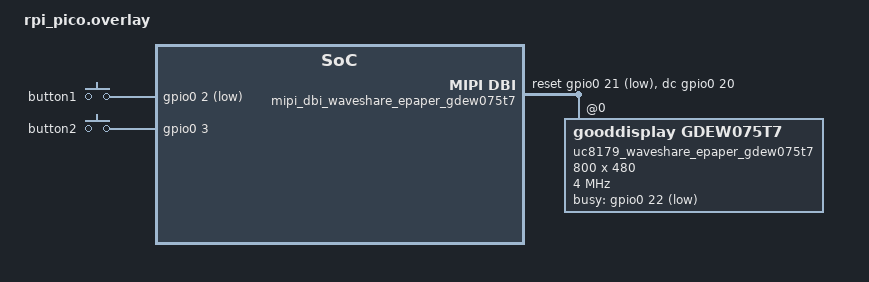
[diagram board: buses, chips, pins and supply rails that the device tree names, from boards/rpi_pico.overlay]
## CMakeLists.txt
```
cmake_minimum_required(VERSION 3.20.0)

find_package(Zephyr REQUIRED HINTS $ENV{ZEPHYR_BASE})
project(ZEReader)

# add_subdirectory(src/epub)
add_subdirectory(src/ui)

add_compile_definitions(LV_LVGL_H_INCLUDE_SIMPLE)

target_sources(app PRIVATE src/main.c)
```

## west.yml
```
manifest:
  defaults:
    remote: zephyrproject
    revision: main

  remotes:
    - name: zephyrproject
      url-base: https://github.com/zephyrproject-rtos


  projects:
    - name: zephyr
      path: zephyr
      remote: zephyrproject

      import:
        name-allowlist:
          - cmsis
          - fatfs
          - hal_nordic
          - hal_rpi_pico
          - hal_stm32
          - hal_littlefs
          - lvgl
          - mcuboot
          - segger

  self:
    west-commands: scripts/west-commands.yml
```

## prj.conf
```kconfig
CONFIG_GPIO=y
CONFIG_SPI=y

CONFIG_SERIAL=y
# CONFIG_PRINTK=y
CONFIG_LOG=y
CONFIG_LOG_BACKEND_UART=y
CONFIG_UART_CONSOLE=y

# CONFIG_DISK_ACCESS=y
# CONFIG_DISK_DRIVER_SDMMC=n

# CONFIG_FILE_SYSTEM=y
# CONFIG_FAT_FILESYSTEM_ELM=y

CONFIG_MAIN_STACK_SIZE=2048


CONFIG_DISPLAY=y
CONFIG_DISPLAY_LOG_LEVEL_DBG=y


# lvgl
#16384
CONFIG_LV_Z_MEM_POOL_SIZE=8192
# # CONFIG_SHELL=n
# # CONFIG_LV_Z_SHELL=n
CONFIG_LVGL=y
# CONFIG_LV_USE_LOG=y
CONFIG_LV_MEM_CUSTOM=y
CONFIG_LV_USE_LABEL=y
CONFIG_LV_USE_BTN=y
CONFIG_LV_USE_IMG=y
CONFIG_LV_FONT_MONTSERRAT_18=y
# CONFIG_LV_FONT_MONTSERRAT_20=y
# CONFIG_LV_FONT_MONTSERRAT_24=y
# CONFIG_LV_FONT_MONTSERRAT_28=y
# CONFIG_LV_FONT_MONTSERRAT_48=n

# CONFIG_LV_Z_VDB_SIZE=16
# CONFIG_LV_DPI_DEF=130
CONFIG_LV_Z_BITS_PER_PIXEL=1
CONFIG_LV_COLOR_DEPTH_1=y
# CONFIG_LVGL_THEMES=y
# CONFIG_LVGL_USE_THEME_MONO=y

CONFIG_INPUT=y
CONFIG_LV_Z_BUTTON_INPUT=y
# CONFIG_LV_Z_POINTER_INPUT=y
```

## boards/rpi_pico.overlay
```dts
#include <zephyr/dt-bindings/input/input-event-codes.h>
#include <zephyr/dt-bindings/lvgl/lvgl.h>


/ {

  chosen {
    zephyr,display = &uc8179_waveshare_epaper_gdew075t7;
  };

  mipi_dbi_waveshare_epaper_gdew075t7 {
    compatible = "zephyr,mipi-dbi-spi";
    spi-dev = <&spi0>; //spi@0 -> GPIO 16-19
    dc-gpios = <&gpio0 20 GPIO_ACTIVE_HIGH>;
    reset-gpios = <&gpio0 21 GPIO_ACTIVE_LOW>;
    write-only;
    #address-cells = <1>;
    #size-cells = <0>;

    uc8179_waveshare_epaper_gdew075t7: uc8179@0 {
      compatible = "gooddisplay,gdew075t7", "ultrachip,uc8179";
      mipi-max-frequency = <4000000>;
      reg = <0>;
      width = <800>;
      height = <480>;
      busy-gpios = <&gpio0 22 GPIO_ACTIVE_LOW>;

      softstart = [ 17 17 17 17  ];

      full {
        pwr = [ 07 07 3f 3f  ];
        cdi = <07>;
        tcon = <0x22>;
      };
    };
  };

  lvgl_pointer_input: lvgl_pointer {
    compatible = "zephyr,lvgl-button-input";
    input = <&buttons>;
    input-codes = <INPUT_KEY_0 INPUT_KEY_1>;
    coordinates = <240 400>, <440 180>;
  };

  buttons: buttons {
    compatible = "gpio-keys";
    polling-mode; // Use polling, as none polling generates at boot buttons releases for each button. Which is not desired. Maybe a bug in Zephyr?

    key1: key1 {
      label = "button1";
      gpios = <&gpio0 2 GPIO_ACTIVE_LOW>;
      zephyr,code = <INPUT_KEY_1>;
    };
    key2: key2 {
      label = "button2";
      gpios = <&gpio0 3 GPIO_ACTIVE_HIGH>;
      zephyr,code = <INPUT_KEY_2>;
    };
    // key3: key3 {
      //     label = "button3";
      //     gpios = <&gpio0 2 GPIO_ACTIVE_HIGH>;
      //     zephyr,code = <INPUT_KEY_3>;
    // };
    // key4: key4 {
      //     label = "button4";
      //     gpios = <&gpio0 3 GPIO_ACTIVE_HIGH>;
      //     zephyr,code = <INPUT_KEY_4>;
    // };
  };
};
```

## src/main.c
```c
#include <stdio.h>
#include <zephyr/logging/log.h>
#include <zephyr/device.h>
#include <zephyr/devicetree.h>
#include <zephyr/drivers/display.h>
#include <zephyr/kernel.h>

#include "ui/ui.h"

LOG_MODULE_REGISTER(main, CONFIG_DISPLAY_LOG_LEVEL);


/*
This can be used to access the GPIO Buttons directly.
If used together with the LVGL input device, there is some
concurrency who handles the event.
So better just use one mechanism!
*/

// static struct gpio_dt_spec button_gpio = GPIO_DT_SPEC_GET_OR(
// 	DT_ALIAS(sw0), gpios, {0});
// static struct gpio_callback button_callback;

// static void button_isr_callback(const struct device *port,
// 								struct gpio_callback *cb,
// 								uint32_t pins)
// {
// 	ARG_UNUSED(port);
// 	ARG_UNUSED(cb);
// 	ARG_UNUSED(pins);

// 	LOG_DBG("GPIO button clicked");
// 	// count = 0;
// }



int main(void)
{
	LOG_DBG("Hello World - ZEReader! %s\n", CONFIG_BOARD_TARGET);

	context_t context = BOOK_MENU;

	// Initialize the choosen zephyr,display device
	// -> Make the device tree description available for the software part
	const struct device *display_dev;
	display_dev = DEVICE_DT_GET(DT_CHOSEN(zephyr_display));
	if (!device_is_ready(display_dev))
	{
		LOG_ERR("Device not ready, aborting...");
		return 0;
	}

	// Make the FIRST ok zephyr,lvgl-button-input node available to the software part
	static const struct device *lvgl_btn_dev;
	lvgl_btn_dev = DEVICE_DT_GET(DT_COMPAT_GET_ANY_STATUS_OKAY(zephyr_lvgl_button_input));
	if (!device_is_ready(lvgl_btn_dev))
	{
		LOG_ERR("Device not ready, aborting...");
		return 0;
	}

	/*
	Initializing the GPIOs by hand is not needed when using the lvgl-button-input driver
	*/
	// if (gpio_is_ready_dt(&button_gpio))
	// {
	// 	int err;

	// 	err = gpio_pin_configure_dt(&button_gpio, GPIO_INPUT);
	// 	if (err)
	// 	{
	// 		LOG_ERR("failed to configure button gpio: %d", err);
	// 		return 0;
	// 	}

	// 	gpio_init_callback(&button_callback, button_isr_callback,
	// 					   BIT(button_gpio.pin));

	// 	err = gpio_add_callback(button_gpio.port, &button_callback);
	// 	if (err)
	// 	{
	// 		LOG_ERR("failed to add button callback: %d", err);
	// 		return 0;
	// 	}

	// 	err = gpio_pin_interrupt_configure_dt(&button_gpio,
	// 										  GPIO_INT_EDGE_TO_ACTIVE);
	// 	if (err)
	// 	{
	// 		LOG_ERR("failed to enable button callback: %d", err);
	// 		return 0;
	// 	}
	// }

	// lv_disp_set_rotation(lv_disp_get_default(), LV_DISP_ROT_180);

	zereader_setup_contol_buttons(&context);

	lv_task_handler();
	display_blanking_off(display_dev);

	lv_task_handler();

	while (1) {
		// if ((count % 100) == 0U) {
		// 	sprintf(count_str, "Hello %d", count/100U);
		// 	lv_label_set_text(hello_world_label, count_str);
		// }
		lv_task_handler();
		// ++count;
		k_sleep(K_MSEC(10));
	}
}
```
